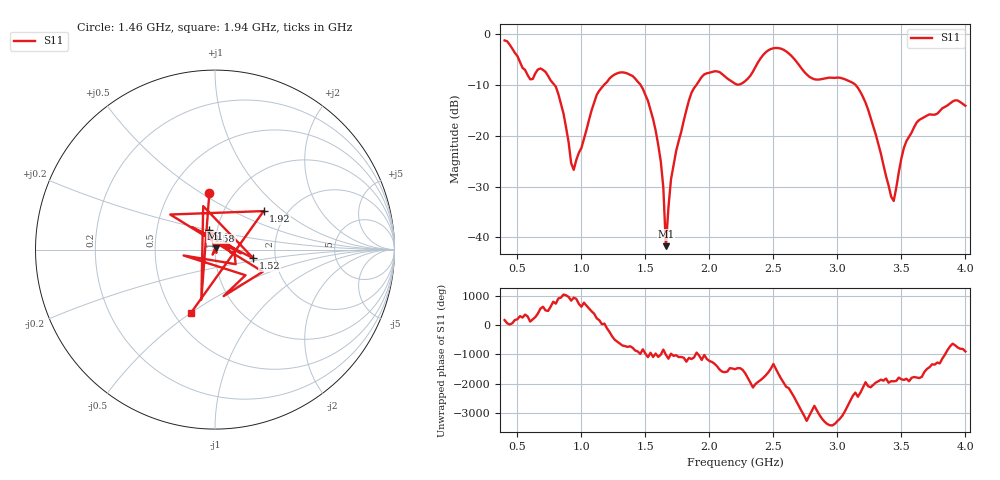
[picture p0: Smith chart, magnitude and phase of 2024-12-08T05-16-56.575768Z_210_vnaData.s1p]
!Created with skrf (http://scikit-rf.org).
# Hz S RI R 50.0
!freq ReS11 ImS11
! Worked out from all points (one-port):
!   181 points, 400 MHz to 4 GHz, reference 50 ohm
!   lowest |S11| = -41.7 dB at 1.66 GHz (marker M1), VSWR 1.02, Z = 50.3 + j0.752 ohm
!   |S11| at or under -10 dB: 788.2 MHz to 1.178 GHz (389.4 MHz wide, 39.6 % of centre); 1.461 GHz to 1.899 GHz (438.1 MHz wide, 26.1 % of centre); 3.141 GHz to end of sweep (the widest 3 of 4)
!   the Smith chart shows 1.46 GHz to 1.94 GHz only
!   S11 on the Smith chart (normalised r, x): 1.46 GHz: 0.77, +0.54; 1.52 GHz: 1.54, -0.16; 1.58 GHz: 0.91, +0.20; 1.92 GHz: 1.52, +0.74; 1.94 GHz: 0.61, -0.50
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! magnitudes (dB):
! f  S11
! 400 MHz  -1.3
! 600 MHz  -8.9
! 720 MHz  -7.5
! 860 MHz  -15.6
! 940 MHz  -26.7
! 1.12 GHz  -12.0
! 1.3 GHz  -7.6
! 1.46 GHz  -9.9
! 1.52 GHz  -13.2
! 1.58 GHz  -19.0
! 1.64 GHz  -30.2
! 1.66 GHz  -41.7
! 1.7 GHz  -28.6
! 1.76 GHz  -21.1
! 1.86 GHz  -11.6
! 1.92 GHz  -9.2
! 1.94 GHz  -8.4
! 2.2 GHz  -9.8
! 2.48 GHz  -3.0
! 2.66 GHz  -4.8
! 2.82 GHz  -8.9
! 3.1 GHz  -9.4
! 3.24 GHz  -14.9
! 3.44 GHz  -32.8
! 3.5 GHz  -24.5
! 3.56 GHz  -20.2
! 3.7 GHz  -16.1
! 4 GHz  -14.1
